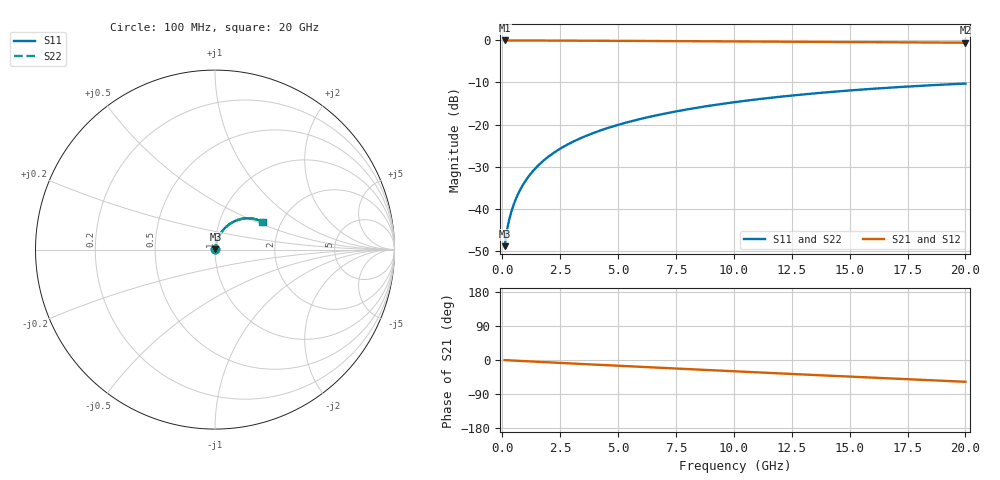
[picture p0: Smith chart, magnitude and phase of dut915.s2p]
! Touchstone file exported from HFSS 2026.1.0
!  File:  C:/ffzhzh/LocalFiles/Ansys_Project_Files/temp_train_TMRDL_915_1783158080_51560.aedt
!  Generated:  05:42:39 PM Jul  4, 2026
!  Design:  TMRDL
!  Project:  temp_train_TMRDL_915_1783158080_51560
! Variables:
!  h_bsmrdl = 2um
!  h_ox = 20um
!  h_rdl = 5um
!  h_sub = 80um
!  h_tmrdl = 5.18um
!  h_tsv = 80um
!  h_via = 3um
!  l_bsmrdl = 300um
!  l_sub = 1368.94um
!  l_tmrdl = 968.94um
!  m_sub = 200um
!  pitch = 46.63um
!  r_tsv = 6um
!  s_tmrdl = 10um
!  w_bsmrdl = 18um
!  w_sub = 500um
!  w_tmrdl = 29.23um
!  x_tsv_center1 = 983.555um
!  x_tsv_center2 = 1301.555um
!  x_tsv_center3 = 2299.725um
!  x_tsv_center4 = 2617.725um
!  x_tsv_center5 = 3615.895um
!  x_tsv_center6 = 3933.895um
# GHz S MA R 50.000000
! Terminal data exported
! Port[1] = TM_RDL1_1_T1
! Port[2] = TM_RDL1_1_T2
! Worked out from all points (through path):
!   200 points, 100 MHz to 20 GHz, reference 50 ohm
!   highest |S21| = -0.02 dB at 100 MHz (marker M1); lowest = -0.6 dB at 20 GHz (marker M2)
!   group delay of S21, straight-line fit = 7.97 ps
!   lowest |S11| = -48.9 dB at 100 MHz (marker M3), VSWR 1.01, Z = 50.3 + j0.25 ohm
!   |S11| at or under -10 dB: start of sweep to end of sweep
!   |S22| runs from -48.9 to -10.3 dB; largest |S21 - S12| = 1.3e-14
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0.1  0.003591 43.8  0.9974 -0.3  0.9974 -0.3  0.003591 43.8
! Gamma 0 0 0 0
! Port Impedance 50 0 50 0
0.2  0.005524 57.8  0.9971 -0.6  0.9971 -0.6  0.005524 57.8
0.3  0.007449 64.4  0.9969 -1.0  0.9969 -1.0  0.00745 64.4
0.4  0.009384 68.5  0.9967 -1.3  0.9967 -1.3  0.009384 68.5
0.5  0.01135 71.3  0.9966 -1.6  0.9966 -1.6  0.01135 71.3
0.6  0.01333 73.3  0.9965 -1.9  0.9965 -1.9  0.01333 73.3
0.8  0.01736 75.7  0.9963 -2.5  0.9963 -2.5  0.01736 75.7
1.1  0.02346 77.4  0.996 -3.4  0.996 -3.4  0.02346 77.4
1.3  0.02754 77.8  0.9957 -4.0  0.9957 -4.0  0.02754 77.8
1.6  0.03364 77.9  0.9953 -4.9  0.9953 -4.9  0.03363 77.9
2.1  0.04371 77.4  0.9944 -6.5  0.9944 -6.5  0.04371 77.4
2.7  0.05561 76.2  0.9931 -8.3  0.9931 -8.3  0.0556 76.2
3.5  0.0711 74.2  0.9912 -10.7  0.9912 -10.7  0.0711 74.3
4.2  0.08434 72.4  0.9894 -12.8  0.9894 -12.8  0.08433 72.5
5  0.09912 70.3  0.9873 -15.2  0.9873 -15.2  0.09911 70.4
5.9  0.1153 67.9  0.9848 -17.8  0.9848 -17.8  0.1153 68.0
6.8  0.1312 65.5  0.9821 -20.5  0.9821 -20.5  0.1311 65.5
8.3  0.1566 61.4  0.9775 -24.8  0.9775 -24.8  0.1566 61.5
10.1  0.1855 56.6  0.9715 -30.0  0.9715 -30.0  0.1855 56.7
13.4  0.2334 47.6  0.96 -39.4  0.96 -39.4  0.2333 47.8
16.7  0.274 38.8  0.9485 -48.5  0.9485 -48.5  0.2739 39.0
20  0.3067 30.1  0.938 -57.5  0.938 -57.5  0.3066 30.3
